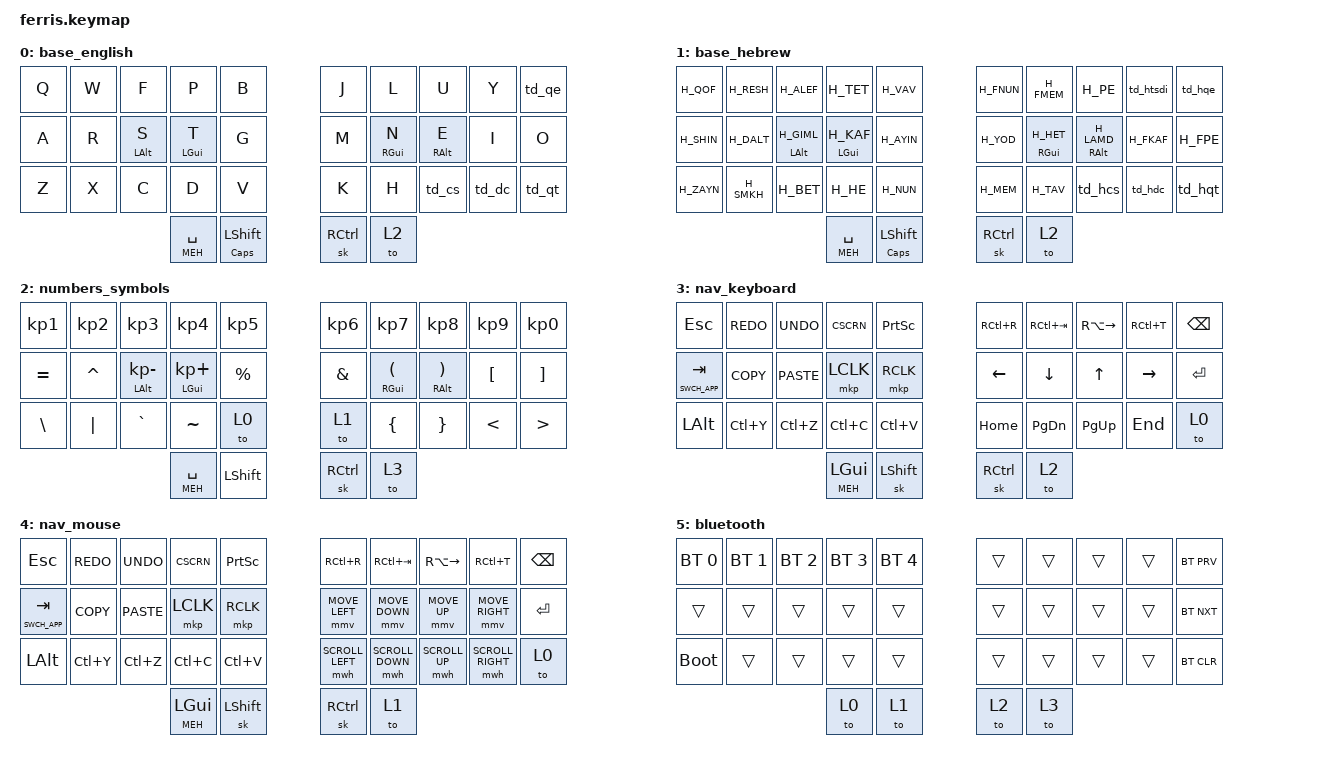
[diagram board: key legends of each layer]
/*
 * Copyright (c) 2020 The ZMK Contributors
 *
 * SPDX-License-Identifier: MIT
 */

#include <behaviors.dtsi>
#include <dt-bindings/zmk/keys.h>
#include <dt-bindings/zmk/bt.h>
#include <dt-bindings/zmk/mouse.h>

// Keymaps
#include "../keys/hebrew.h"
#include "../keys/shortcut.h"
#include "../keys/mod.h"

&mt {
    tapping_term_ms = <200>;
    flavor = "tap-preferred";
};
&sk {
     release-after-ms = <2000>;
     quick-release;
 };

// Layers
#define ENG    0
#define HEB    1
#define SYM    2
#define KBNV   3
#define MSNV   4	
#define BLT    5

/* 34 Key Matrix
╭──────────────╮ ╭──────────────╮
│ 0  1  2  3  4│ │ 5  6  7  8  9│
│10 11 12 13 14│ │15 16 17 18 19│
│20 21 22 23 24│ │25 26 27 28 29│
╰────────╮30 31│ │32 33╭────────╯
         ╰─────╯ ╰─────╯         
*/

/* Copied (modified) from https://github.com/caksoylar/zmk-config

#define COMBO(NAME, BINDINGS, KEYPOS, LAYERS, TERM, QUICKTAP) \
   combo_##NAME { \
     timeout-ms = <TERM>; \
     bindings = <BINDINGS>; \
     key-positions = <KEYPOS>; \
     layers = <LAYERS>; \
     global-quick-tap-ms = <QUICKTAP>; \
   };
*/

/ {
    combos {
        compatible = "zmk,combos";

/* 34 Key Matrix
* ╭──────────────╮ ╭──────────────╮
* │ 0  1  2  3  4│ │ 5  6  7  8  9│
* │10 11 12 13 14│ │15 16 17 18 19│
* │20 21 22 23 24│ │25 26 27 28 29│
* ╰────────╮30 31│ │32 33╭────────╯
*          ╰─────╯ ╰─────╯         
*/

// General combos
        combo_to_base {
            timeout-ms = <default_timeout>;
            key-positions = <30 33>;
            bindings = <&to ENG>;
        };
        combo_to_bt {
            timeout-ms = <default_timeout>;
            key-positions = <0 9>;
            bindings = <&to BLT>;
            layers = <ENG HEB SYM KBNV MSNV>;
        };

// Alphanumeric-Layer combos
        combo_caps_word {
            timeout-ms = <default_timeout>;
            key-positions = <24 25>;
            bindings = <&caps_word>;
            layers = <ENG HEB SYM>;
        };

// Top Row (left to right)
        combo_escape {
            timeout-ms = <default_timeout>;
            key-positions = <0 1>;
            bindings = <&kp ESCAPE>;
            layers = <ENG HEB SYM>;
        };

        combo_dollar {
            timeout-ms = <default_timeout>;
            key-positions = <2 3>; 
            bindings = <&kp DOLLAR>;
            layers = <ENG SYM>;
        };
        combo_shekel {
            timeout-ms = <default_timeout>;
            key-positions = <2 3>;
            bindings = <&kp H_SHKL>;
            layers = <HEB>;
        };

        combo_underscore {
            timeout-ms = <default_timeout>;
            key-positions = <6 7>;
            bindings = <&kp UNDERSCORE>;
            layers = <ENG HEB SYM>;
        };

        combo_backspace {
            timeout-ms = <default_timeout>;
            key-positions = <8 9>;
            bindings = <&kp BACKSPACE>;
            layers = <ENG HEB SYM>;
        };

// Middle row
        combo_tab {
            timeout-ms = <default_timeout>;
            key-positions = <10 11>;
            bindings = <&kp TAB>;
            layers = <ENG HEB SYM>;
        };

        combo_return {
            timeout-ms = <default_timeout>;
            key-positions = <18 19>;
            bindings = <&kp RETURN>;
            layers = <ENG HEB SYM>;
        };

// Bottom row
        combo_slash {
            timeout-ms = <default_timeout>;
            key-positions = <20 21>;
            bindings = <&kp FSLH>;
            layers = <ENG HEB SYM>;
        };

        combo_asterisk {
            timeout-ms = <default_timeout>;
            key-positions = <22 23>;
            bindings = <&kp ASTERISK>;
            layers = <ENG HEB SYM>;
        };

        combo_hash {
            timeout-ms = <default_timeout>;
            key-positions = <26 27>;
            bindings = <&kp HASH>;
            layers = <ENG HEB SYM>;
        };

        combo_at_sign {
            timeout-ms = <default_timeout>;
            key-positions = <28 29>;
            bindings = <&kp AT_SIGN>;
            layers = <ENG HEB SYM>;
        };
    };

behaviors {
        hm: homerow_mods {
            compatible = "zmk,behavior-hold-tap";
            label = "HOMEROW_MODS";
            #binding-cells = <2>;
            tapping-term-ms = <200>;
            quick_tap_ms = <0>;
            flavor = "tap-preferred";
            bindings = 
                <&kp>, 
                <&kp>;
        };
        smt: sticky_mod_tap {
            compatible = "zmk,behavior-hold-tap";
            label = "STICKY_MOD_TAP";
            #binding-cells = <2>;
            tapping-term-ms = <200>;
            quick_tap_ms = <0>;
            flavor = "tap-preferred";
            bindings = 
                <&sk>, 
                <&kp>;
        };
        ht: hold_tap {
            compatible = "zmk,behavior-hold-tap";
            label = "HOLD_TAP";
            #binding-cells = <2>;
            tapping-term-ms = <150>;
            quick_tap_ms = <0>;
            flavor = "tap-preferred";
            bindings = 
                <&kp>, 
                <&kp>;
        };
        // 1: Period "."; 2: Colon ":"; 3: Ellipsis "..."
        td_dc: tap_dot_colon {
            compatible = "zmk,behavior-tap-dance";
            label = "TAP_DOT_COLON";
            #binding-cells = <0>;
            tapping-term-ms = <150>;
            bindings = 
                <&kp DOT>, 
                <&kp COLON>, 
                <&kp DOT &kp DOT &kp DOT>;
        };
        // 1: Comma ","; 2: Semicolon ";"
        td_cs: tap_comma_semicolon {
            compatible = "zmk,behavior-tap-dance";
            label = "TAP_COMMA_SEMICOLON";
            #binding-cells = <0>;
            tapping-term-ms = <150>;
            bindings = 
                <&kp COMMA>, 
                <&kp SEMICOLON>;
        };
        // 1: Single quote "'"; 2: Double quote """; 3: Triple-double quote """""
        td_qt: tap_quote {
            compatible = "zmk,behavior-tap-dance";
            label = "TAP_QUOTE";
            #binding-cells = <0>;
            tapping-term-ms = <150>;
            bindings = 
                <&kp SINGLE_QUOTE>, 
                <&kp DOUBLE_QUOTES>, 
                <&kp DOUBLE_QUOTES &kp DOUBLE_QUOTES &kp DOUBLE_QUOTES>;
        };
        // 1: Question mark "?"; 2: Exclamation mark "!"
        td_qe: tap_question_exclamation {
            compatible = "zmk,behavior-tap-dance";
            label = "TAP_COMMA_SEMICOLON";
            #binding-cells = <0>;
            tapping-term-ms = <150>;
            bindings = 
                <&kp QUESTION>, 
                <&kp EXCLAMATION>,
                <&kp QUESTION &kp QUESTION &kp QUESTION>;
        };
        // 1: Period "."; 2: Colon ":"; 3: Ellipsis "..."
        td_hdc: tap_heb_dot_colon {
            compatible = "zmk,behavior-tap-dance";
            label = "TAP_HEB_DOT_COLON";
            #binding-cells = <0>;
            tapping-term-ms = <150>;
            bindings = 
                <&kp H_DOT>, 
                <&kp H_COLON>, 
                <&kp H_DOT &kp H_DOT &kp H_DOT>;
        };
        // 1: Comma ","; 2: Semicolon ";"
        td_hcs: tap_heb_comma_semicolon {
            compatible = "zmk,behavior-tap-dance";
            label = "TAP_HEB_COMMA_SEMICOLON";
            #binding-cells = <0>;
            tapping-term-ms = <150>;
            bindings = 
                <&kp H_COMMA>, 
                <&kp H_SEMI>;
        };
        // 1: Single quote "'"; 2: Double quote """; 3: Triple-double quote """""
        td_hqt: tap_heb_quote {
            compatible = "zmk,behavior-tap-dance";
            label = "TAP_HEB_QUOTE";
            #binding-cells = <0>;
            tapping-term-ms = <150>;
            bindings = 
                <&kp H_SQT>, 
                <&kp H_DQT>, 
                <&kp H_DQT &kp H_DQT &kp H_DQT>;
        };
        // 1: Question mark "?"; 2: Exclamation mark "!"
        td_hqe: tap_heb_question_exclamation {
            compatible = "zmk,behavior-tap-dance";
            label = "TAP_HEB_COMMA_SEMICOLON";
            #binding-cells = <0>;
            tapping-term-ms = <150>;
            bindings = 
                <&kp H_QMARK>, 
                <&kp H_EXCL>;
        };
        // 1: Question mark "?"; 2: Exclamation mark "!"
        td_htsdi: tap_heb_tsadi {
            compatible = "zmk,behavior-tap-dance";
            label = "TAP_HEB_TSADI";
            #binding-cells = <0>;
            tapping-term-ms = <150>;
            bindings = 
                <&kp H_TSDI>, 
                <&kp H_FTSDI>;
        };
    };


    keymap {
        compatible = "zmk,keymap";

        base_english {
// English Alphas
            bindings = <
    &kp Q           &kp W           &kp F           &kp P           &kp B              &kp J           &kp L           &kp U           &kp Y           &td_qe
    &kp A           &kp R           &hm LALT S      &hm LGUI T      &kp G              &kp M           &hm RGUI N      &hm RALT E      &kp I           &kp O
    &kp Z           &kp X           &kp C           &kp D           &kp V              &kp K           &kp H           &td_cs          &td_dc          &td_qt
                                    &smt MEH SPACE          &mt CAPS LSHIFT            &sk RCTRL               &to 2
      >;
        };

        base_hebrew {
// Hebrew Alphas
            bindings = <
    &kp H_QOF       &kp H_RESH      &kp H_ALEF      &kp H_TET       &kp H_VAV          &kp H_FNUN      &kp H_FMEM      &kp H_PE        &td_htsdi       &td_hqe
    &kp H_SHIN      &kp H_DALT      &hm LALT H_GIML &hm LGUI H_KAF  &kp H_AYIN         &kp H_YOD       &hm RGUI H_HET  &hm RALT H_LAMD &kp H_FKAF      &kp H_FPE
    &kp H_ZAYN      &kp H_SMKH      &kp H_BET       &kp H_HE        &kp H_NUN          &kp H_MEM       &kp H_TAV       &td_hcs         &td_hdc         &td_hqt
                                    &smt MEH SPACE          &mt CAPS LSHIFT            &sk RCTRL               &to 2
      >;
        };

        numbers_symbols {
// Numbers and Symbols 
            bindings = <
    &kp KP_N1       &kp KP_N2       &kp KP_N3         &kp KP_N4         &kp KP_N5          &kp KP_N6        &kp KP_N7        &kp KP_N8        &kp KP_N9   &kp KP_N0
    &kp EQUAL       &kp CARET       &hm LALT KP_MINUS &hm LGUI KP_PLUS  &kp PRCNT          &kp AMPERSAND    &hm RGUI LPAR    &hm RALT RPAR    &kp LBKT    &kp RBKT
    &kp BACKSLASH   &kp PIPE        &kp GRAVE         &kp TILDE         &to 0              &to 1            &kp LBRC         &kp RBRC         &kp LT      &kp GT
                                    &smt MEH SPACE          &kp LSHIFT                     &sk RCTRL               &to 3
      >;
        };

        nav_keyboard {
// Keyboard Navigation
            bindings = <
    &kp ESC         &kp REDO        &kp UNDO        &kp CSCRN       &kp PSCRN          &kp RC(R)       &kp RC(TAB)     &kp RA(RIGHT)   &kp RC(T)       &kp BSPC
    &mt SWCH_APP TAB &kp COPY       &kp PASTE       &mkp LCLK       &mkp RCLK          &kp LEFT        &kp DOWN        &kp UP          &kp RIGHT       &kp RET
    &kp LALT        &kp LC(Y)       &kp LC(Z)       &kp LC(C)       &kp LC(V)          &kp HOME        &kp PG_DN       &kp PG_UP       &kp END         &to 0
                                    &smt MEH LGUI           &sk LSHIFT                 &sk RCTRL               &to 2
      >;
        };

        nav_mouse {
// Mouse Navigation
            bindings = <
    &kp ESC         &kp REDO        &kp UNDO        &kp CSCRN       &kp PSCRN          &kp RC(R)        &kp RC(TAB)      &kp RA(RIGHT)   &kp RC(T)         &kp BSPC
    &mt SWCH_APP TAB &kp COPY       &kp PASTE       &mkp LCLK       &mkp RCLK          &mmv MOVE_LEFT   &mmv MOVE_DOWN   &mmv MOVE_UP    &mmv MOVE_RIGHT   &kp RET
    &kp LALT        &kp LC(Y)       &kp LC(Z)       &kp LC(C)       &kp LC(V)          &mwh SCROLL_LEFT &mwh SCROLL_DOWN &mwh SCROLL_UP  &mwh SCROLL_RIGHT &to 0
                                    &smt MEH LGUI           &sk LSHIFT                 &sk RCTRL               &to 1
      >;
        };

        bluetooth {
// Bluetooth
            bindings = <
    &bt BT_SEL 0    &bt BT_SEL 1    &bt BT_SEL 2    &bt BT_SEL 3    &bt BT_SEL 4       &trans          &trans          &trans          &trans          &bt BT_PRV
    &trans          &trans          &trans          &trans          &trans             &trans          &trans          &trans          &trans          &bt BT_NXT
    &bootloader     &trans          &trans          &trans          &trans             &trans          &trans          &trans          &trans          &bt BT_CLR
                                    &to 0                   &to 1                      &to 2                   &to 3
      >;
        };
    };
};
